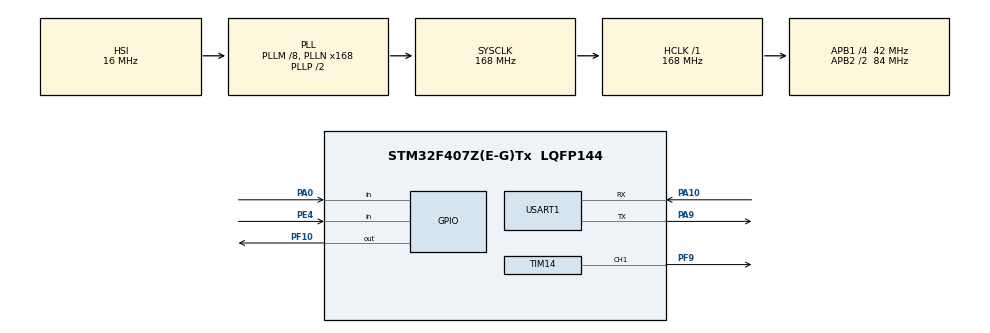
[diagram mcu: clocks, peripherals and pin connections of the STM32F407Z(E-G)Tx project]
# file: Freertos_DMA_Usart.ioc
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Dma.Request0=USART1_RX
Dma.USART1_RX.0.Direction=DMA_PERIPH_TO_MEMORY
Dma.USART1_RX.0.FIFOMode=DMA_FIFOMODE_DISABLE
Dma.USART1_RX.0.Instance=DMA2_Stream2
Dma.USART1_RX.0.MemDataAlignment=DMA_MDATAALIGN_BYTE
Dma.USART1_RX.0.MemInc=DMA_MINC_ENABLE
Dma.USART1_RX.0.Mode=DMA_NORMAL
Dma.USART1_RX.0.PeriphDataAlignment=DMA_PDATAALIGN_BYTE
Dma.USART1_RX.0.PeriphInc=DMA_PINC_DISABLE
Dma.USART1_RX.0.Priority=DMA_PRIORITY_HIGH
FREERTOS.Tasks01=defaultTask,0,128,StartDefaultTask,Default,NULL,Dynamic,NULL,NULL;LED_Task,0,128,LED_Toggle,Default,NULL,Dynamic,NULL,NULL;myTask03,2,128,Usart_Tx,Default,NULL,Dynamic,NULL,NULL;myTask04,3,128,Key_deal,Default,NULL,Dynamic,NULL,NULL;myTask05,1,128,Led_control,Default,NULL,Dynamic,NULL,NULL
Mcu.Family=STM32F4
Mcu.Name=STM32F407Z(E-G)Tx
Mcu.Package=LQFP144
NVIC.DMA2_Stream2_IRQn=true\:5\:0\:false\:false\:true\:true\:false\:true
NVIC.PriorityGroup=NVIC_PRIORITYGROUP_4
NVIC.TIM7_IRQn=true\:0\:0\:false\:false\:true\:false\:false\:true
NVIC.TimeBase=TIM7_IRQn
NVIC.TimeBaseIP=TIM7
NVIC.USART1_IRQn=true\:5\:0\:false\:false\:true\:true\:true\:true
PA0-WKUP.GPIO_PuPd=GPIO_PULLDOWN
PA0-WKUP.Signal=GPIO_Input
PA10.Mode=Asynchronous
PA10.Signal=USART1_RX
PA13.Mode=Serial_Wire
PA13.Signal=SYS_JTMS-SWDIO
PA14.Mode=Serial_Wire
PA14.Signal=SYS_JTCK-SWCLK
PA9.Mode=Asynchronous
PA9.Signal=USART1_TX
PE4.GPIO_Mode=GPIO_MODE_INPUT
PE4.GPIO_PuPd=GPIO_PULLDOWN
PE4.Signal=GPIO_Input
PF10.GPIO_Speed=GPIO_SPEED_FREQ_MEDIUM
PF10.PinState=GPIO_PIN_RESET
PF10.Signal=GPIO_Output
PF9.Signal=S_TIM14_CH1
PH0-OSC_IN.Mode=HSE-External-Oscillator
PH0-OSC_IN.Signal=RCC_OSC_IN
PH1-OSC_OUT.Mode=HSE-External-Oscillator
PH1-OSC_OUT.Signal=RCC_OSC_OUT
ProjectManager.HeapSize=0x200
ProjectManager.StackSize=0x400
ProjectManager.TargetToolchain=MDK-ARM V5.27
RCC.48MHZClocksFreq_Value=84000000
RCC.AHBFreq_Value=168000000
RCC.APB1CLKDivider=RCC_HCLK_DIV4
RCC.APB1Freq_Value=42000000
RCC.APB1TimFreq_Value=84000000
RCC.APB2CLKDivider=RCC_HCLK_DIV2
RCC.APB2Freq_Value=84000000
RCC.APB2TimFreq_Value=168000000
RCC.CortexFreq_Value=168000000
RCC.HCLKFreq_Value=168000000
RCC.HSE_VALUE=8000000
RCC.HSI_VALUE=16000000
RCC.LSE_VALUE=32768
RCC.PLLM=8
RCC.PLLN=168
RCC.SYSCLKFreq_VALUE=168000000
RCC.SYSCLKSource=RCC_SYSCLKSOURCE_PLLCLK
RCC.VCOOutputFreq_Value=336000000
SH.S_TIM14_CH1.0=TIM14_CH1,PWM Generation1 CH1
TIM14.Channel=TIM_CHANNEL_1
TIM14.Period=999
TIM14.Prescaler=83
USART1.VirtualMode=VM_ASYNC
VP_FREERTOS_VS_CMSIS_V1.Mode=CMSIS_V1
VP_SYS_VS_tim7.Mode=TIM7
VP_TIM14_VS_ClockSourceINT.Mode=Enable_Timer
board=custom

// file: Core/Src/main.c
/* USER CODE BEGIN Header */
/**
  ******************************************************************************
  * @file           : main.c
  * @brief          : Main program body
  ******************************************************************************
  * @attention
  *
  * <h2><center>&copy; Copyright (c) 2023 STMicroelectronics.
  * All rights reserved.</center></h2>
  *
  * This software component is licensed by ST under Ultimate Liberty license
  * SLA0044, the "License"; You may not use this file except in compliance with
  * the License. You may obtain a copy of the License at:
  *                             www.st.com/SLA0044
  *
  ******************************************************************************
  */
/* USER CODE END Header */
#include "main.h"
#include "cmsis_os.h"
#include "dma.h"
#include "tim.h"
#include "usart.h"
#include "gpio.h"

/* USER CODE BEGIN PM */
uint8_t USART1_RX_Buffer[100];
extern UART_HandleTypeDef huart1;
/* USER CODE END PM */

void SystemClock_Config(void);
void MX_FREERTOS_Init(void);

int main(void)
{

  /* MCU Configuration--------------------------------------------------------*/

  /* Reset of all peripherals, Initializes the Flash interface and the Systick. */
  HAL_Init();

  /* Configure the system clock */
  SystemClock_Config();

  /* Initialize all configured peripherals */
  MX_GPIO_Init();
  MX_DMA_Init();
  MX_TIM14_Init();
  MX_USART1_UART_Init();
  /* USER CODE BEGIN 2 */
  HAL_TIM_PWM_Start(&htim14,TIM_CHANNEL_1);
  HAL_UART_Receive_DMA(&huart1,USART1_RX_Buffer,100);
  TIM14->CCR1=999;

  /* USER CODE END 2 */

  /* Call init function for freertos objects (in freertos.c) */
  MX_FREERTOS_Init();
  /* Start scheduler */
  osKernelStart();

  /* We should never get here as control is now taken by the scheduler */
  /* Infinite loop */
  while (1)
  {

  }
}

void SystemClock_Config(void)
{
  RCC_OscInitTypeDef RCC_OscInitStruct = {0};
  RCC_ClkInitTypeDef RCC_ClkInitStruct = {0};

  /** Configure the main internal regulator output voltage
  */
  __HAL_RCC_PWR_CLK_ENABLE();
  __HAL_PWR_VOLTAGESCALING_CONFIG(PWR_REGULATOR_VOLTAGE_SCALE1);
  /** Initializes the RCC Oscillators according to the specified parameters
  * in the RCC_OscInitTypeDef structure.
  */
  RCC_OscInitStruct.OscillatorType = RCC_OSCILLATORTYPE_HSI;
  RCC_OscInitStruct.HSIState = RCC_HSI_ON;
  RCC_OscInitStruct.HSICalibrationValue = RCC_HSICALIBRATION_DEFAULT;
  RCC_OscInitStruct.PLL.PLLState = RCC_PLL_ON;
  RCC_OscInitStruct.PLL.PLLSource = RCC_PLLSOURCE_HSI;
  RCC_OscInitStruct.PLL.PLLM = 8;
  RCC_OscInitStruct.PLL.PLLN = 168;
  RCC_OscInitStruct.PLL.PLLP = RCC_PLLP_DIV2;
  RCC_OscInitStruct.PLL.PLLQ = 4;
  if (HAL_RCC_OscConfig(&RCC_OscInitStruct) != HAL_OK)
  {
    Error_Handler();
  }
  /** Initializes the CPU, AHB and APB buses clocks
  */
  RCC_ClkInitStruct.ClockType = RCC_CLOCKTYPE_HCLK|RCC_CLOCKTYPE_SYSCLK
                              |RCC_CLOCKTYPE_PCLK1|RCC_CLOCKTYPE_PCLK2;
  RCC_ClkInitStruct.SYSCLKSource = RCC_SYSCLKSOURCE_PLLCLK;
  RCC_ClkInitStruct.AHBCLKDivider = RCC_SYSCLK_DIV1;
  RCC_ClkInitStruct.APB1CLKDivider = RCC_HCLK_DIV4;
  RCC_ClkInitStruct.APB2CLKDivider = RCC_HCLK_DIV2;

  if (HAL_RCC_ClockConfig(&RCC_ClkInitStruct, FLASH_LATENCY_5) != HAL_OK)
  {
    Error_Handler();
  }
}

 /**
  * @brief  Period elapsed callback in non blocking mode
  * @note   This function is called  when TIM7 interrupt took place, inside
  * HAL_TIM_IRQHandler(). It makes a direct call to HAL_IncTick() to increment
  * a global variable "uwTick" used as application time base.
  * @param  htim : TIM handle
  * @retval None
  */
void HAL_TIM_PeriodElapsedCallback(TIM_HandleTypeDef *htim)
{
  if (htim->Instance == TIM7) {
    HAL_IncTick();
  }
}

void Error_Handler(void)
{
  __disable_irq();
  while (1)
  {
  }
}

/************************ (C) COPYRIGHT STMicroelectronics *****END OF FILE****/

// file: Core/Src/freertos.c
/* USER CODE BEGIN Header */
/**
  ******************************************************************************
  * File Name          : freertos.c
  * Description        : Code for freertos applications
  ******************************************************************************
  * @attention
  *
  * <h2><center>&copy; Copyright (c) 2023 STMicroelectronics.
  * All rights reserved.</center></h2>
  *
  * This software component is licensed by ST under Ultimate Liberty license
  * SLA0044, the "License"; You may not use this file except in compliance with
  * the License. You may obtain a copy of the License at:
  *                             www.st.com/SLA0044
  *
  ******************************************************************************
  */
/* USER CODE END Header */

#include "FreeRTOS.h"
#include "task.h"
#include "main.h"
#include "cmsis_os.h"

/* USER CODE BEGIN Includes */
#include <stdio.h>
/* USER CODE END Includes */

/* USER CODE BEGIN PM */
SemaphoreHandle_t BinarySem_Handle =NULL;
SemaphoreHandle_t PA0_Sem_Handle =NULL;
extern uint8_t USART1_RX_Buffer[100];
extern UART_HandleTypeDef huart1;
/* USER CODE END PM */

osThreadId defaultTaskHandle;
osThreadId LED_TaskHandle;
osThreadId myTask03Handle;
osThreadId myTask04Handle;
osThreadId myTask05Handle;

void StartDefaultTask(void const * argument);
void LED_Toggle(void const * argument);
void Usart_Tx(void const * argument);
void Key_deal(void const * argument);
void Led_control(void const * argument);

void MX_FREERTOS_Init(void); /* (MISRA C 2004 rule 8.1) */

/* GetIdleTaskMemory prototype (linked to static allocation support) */
void vApplicationGetIdleTaskMemory( StaticTask_t **ppxIdleTaskTCBBuffer, StackType_t **ppxIdleTaskStackBuffer, uint32_t *pulIdleTaskStackSize );

/* USER CODE BEGIN GET_IDLE_TASK_MEMORY */
static StaticTask_t xIdleTaskTCBBuffer;
static StackType_t xIdleStack[configMINIMAL_STACK_SIZE];

void vApplicationGetIdleTaskMemory( StaticTask_t **ppxIdleTaskTCBBuffer, StackType_t **ppxIdleTaskStackBuffer, uint32_t *pulIdleTaskStackSize )
{
  *ppxIdleTaskTCBBuffer = &xIdleTaskTCBBuffer;
  *ppxIdleTaskStackBuffer = &xIdleStack[0];
  *pulIdleTaskStackSize = configMINIMAL_STACK_SIZE;
  /* place for user code */
}
/* USER CODE END GET_IDLE_TASK_MEMORY */

void MX_FREERTOS_Init(void) {

  /* USER CODE BEGIN RTOS_QUEUES */
  /* add queues, ... */
  BinarySem_Handle = xSemaphoreCreateBinary();
  if(NULL != BinarySem_Handle)
    printf("BinarySem_Handle二值信号量创建成功!\r\n");
  PA0_Sem_Handle = xSemaphoreCreateBinary();
  if(NULL != PA0_Sem_Handle)
    printf("PA0_Sem_Handle二值信号量创建成功!\r\n");
  /* USER CODE END RTOS_QUEUES */

  /* Create the thread(s) */
  /* definition and creation of defaultTask */
  osThreadDef(defaultTask, StartDefaultTask, osPriorityNormal, 0, 128);
  defaultTaskHandle = osThreadCreate(osThread(defaultTask), NULL);

  /* definition and creation of LED_Task */
  osThreadDef(LED_Task, LED_Toggle, osPriorityNormal, 0, 128);
  LED_TaskHandle = osThreadCreate(osThread(LED_Task), NULL);

  /* definition and creation of myTask03 */
  osThreadDef(myTask03, Usart_Tx, osPriorityHigh, 0, 128);
  myTask03Handle = osThreadCreate(osThread(myTask03), NULL);

  /* definition and creation of myTask04 */
  osThreadDef(myTask04, Key_deal, osPriorityRealtime, 0, 128);
  myTask04Handle = osThreadCreate(osThread(myTask04), NULL);

  /* definition and creation of myTask05 */
  osThreadDef(myTask05, Led_control, osPriorityAboveNormal, 0, 128);
  myTask05Handle = osThreadCreate(osThread(myTask05), NULL);

}

void StartDefaultTask(void const * argument)
{
  /* USER CODE BEGIN StartDefaultTask */
  /* Infinite loop */
  for(;;)
  {
    osDelay(100);
    GPIOF->ODR^=GPIO_PIN_10;
  }
  /* USER CODE END StartDefaultTask */
}

void LED_Toggle(void const * argument)
{
  for(;;)
  {
    osDelay(1);
  }
}

void Usart_Tx(void const * argument)
{
  /* USER CODE BEGIN Usart_Tx */
    BaseType_t xReturn = pdPASS;/* 定义一个创建信息返回值，默认为pdPASS */
  /* Infinite loop */
  for(;;)
  {
    xReturn = xSemaphoreTake(BinarySem_Handle,/* 二值信号量句柄 */
                              portMAX_DELAY); /* 等待时间 */
    if(pdTRUE == xReturn)
      printf("BinarySem_Handle二值信号量获取成功!\n\n");
	TIM14->CCR1=1000-TIM14->CCR1;
    osDelay(1);
  }
  /* USER CODE END Usart_Tx */
}

void Key_deal(void const * argument)
{
  /* USER CODE BEGIN Key_deal */
    BaseType_t xReturn = pdPASS;/* 定义一个创建信息返回值，默认为pdPASS */
  /* Infinite loop */
  for(;;)
  {
      if(GPIOE->IDR&(1<<4))
      {
          while(GPIOE->IDR&(1<<4));
          xReturn = xSemaphoreGive( BinarySem_Handle );//给出二值信号量
          if( xReturn == pdTRUE )
            printf("BinarySem_Handle二值信号量释放成功!\r\n");
          else
            printf("BinarySem_Handle二值信号量释放失败!\r\n");
      }
      if(GPIOA->IDR&(1<<0))
      {
          while(GPIOA->IDR&(1<<0));
          xReturn = xSemaphoreGive( PA0_Sem_Handle );//给出二值信号量
          if( xReturn == pdTRUE )
            printf("PA0_Sem_Handle二值信号量释放成功!\r\n");
          else
            printf("PA0_Sem_Handle二值信号量释放失败!\r\n");
      }
    osDelay(1);
  }
  /* USER CODE END Key_deal */
}

void Led_control(void const * argument)
{
  /* USER CODE BEGIN Led_control */
    BaseType_t xReturn = pdPASS;/* 定义一个创建信息返回值，默认为pdPASS */
  /* Infinite loop */
  for(;;)
  {
    xReturn = xSemaphoreTake(PA0_Sem_Handle,/* 二值信号量句柄 */
                              portMAX_DELAY); /* 等待时间 */
    if(pdTRUE == xReturn)
      printf("PA0_Sem_Handle二值信号量获取成功!\n\n");
	printf("%s\n",USART1_RX_Buffer);
    HAL_UART_Receive_DMA(&huart1,USART1_RX_Buffer,100);
    osDelay(1);
  }
  /* USER CODE END Led_control */
}

/************************ (C) COPYRIGHT STMicroelectronics *****END OF FILE****/
